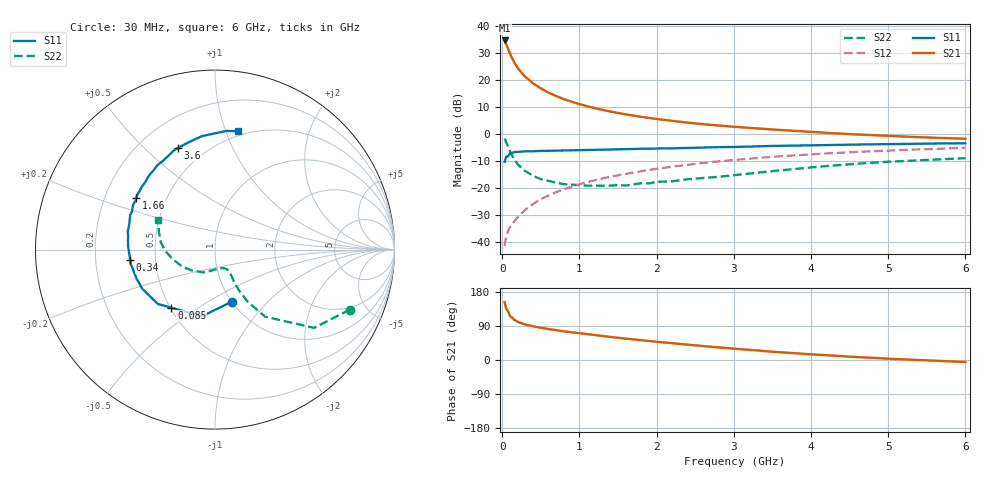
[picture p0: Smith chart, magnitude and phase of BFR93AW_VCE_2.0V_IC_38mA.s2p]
! (c) 2015  Infineon Technologies AG, Munich
! Infineon Technologies  Discrete & RF Semiconductors
! BFR93AW
! VCE =  2.0 V,  IC =  38 mA
! Common Emitter S-Parameters:  Nov 2015
# GHz  S  MA  R  50
!  f  S11  S21  S12  S22
! GHz  MAG  ANG  MAG  ANG  MAG  ANG  MAG  ANG
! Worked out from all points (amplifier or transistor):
!   206 points, 30 MHz to 6 GHz, reference 50 ohm
!   highest |S21| = 34.8 dB at 30 MHz (marker M1)
!   |S21| within 3 dB of that: start of sweep to 73.6 MHz
!   unconditionally stable (mu >= 1): 381.5 MHz to 2.338 GHz
!   at 200 MHz: K = 0.88, MSG = 27.7 dB, |S12| = -30.9 dB
!   at 1.56 GHz: K = 1.04, MAG = 10.0 dB, |S12| = -15.0 dB
!   at 6 GHz: K = 0.95, MSG = 1.7 dB, |S12| = -5.1 dB
!   S11 on the Smith chart (normalised r, x): 30 MHz: 1.00, -0.64; 85 MHz: 0.51, -0.39; 340 MHz: 0.36, -0.05; 1.66 GHz: 0.34, +0.27; 3.6 GHz: 0.36, +0.64; 6 GHz: 0.46, +1.10
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0.03  0.3047 -71.9  54.83 152.7  0.0082 71.8  0.8221 -24.0
0.05  0.378 -100.9  47.11 136.1  0.0125 64.2  0.7036 -38.3
0.085  0.4051 -126.9  35.13 124.0  0.0167 63.2  0.5328 -47.4
0.1  0.439 -136.3  30.73 116.1  0.0185 62.9  0.4659 -53.3
0.15  0.4601 -151.6  21.88 106.5  0.0232 65.1  0.3416 -57.9
0.2  0.4662 -159.9  16.9 100.7  0.0284 66.6  0.2742 -59.4
0.24  0.4685 -165.0  14.32 97.6  0.0325 68.3  0.2384 -59.6
0.3  0.4765 -170.2  11.51 93.5  0.039 70.5  0.2032 -59.2
0.34  0.4761 -172.8  10.38 91.9  0.0434 71.0  0.1884 -58.7
0.4  0.4774 -176.6  8.698 88.7  0.0501 71.5  0.1663 -57.7
0.5  0.4841 178.5  7.013 84.9  0.0611 72.9  0.1444 -58.0
0.6  0.4873 174.9  5.866 81.6  0.072 73.2  0.1333 -58.0
0.8  0.4965 168.4  4.436 75.7  0.0937 73.1  0.1165 -63.0
1.04  0.502 161.5  3.458 69.6  0.1207 71.6  0.1105 -69.5
1.3  0.509 155.3  2.802 63.2  0.1497 69.5  0.1082 -77.7
1.66  0.5241 147.0  2.238 55.2  0.1883 66.4  0.1135 -95.1
2.02  0.5378 139.4  1.882 47.7  0.2268 63.1  0.1291 -107.3
3.1  0.5776 118.6  1.33 28.4  0.3375 51.6  0.1763 -139.9
3.6  0.6024 110.2  1.187 20.5  0.3847 46.0  0.2102 -155.3
4.1  0.619 102.3  1.071 13.8  0.4265 40.3  0.2464 -169.2
5.1  0.6499 89.2  0.909 2.5  0.4982 29.3  0.3088 170.0
6  0.6722 79.1  0.816 -5.3  0.5538 20.2  0.3544 152.7
